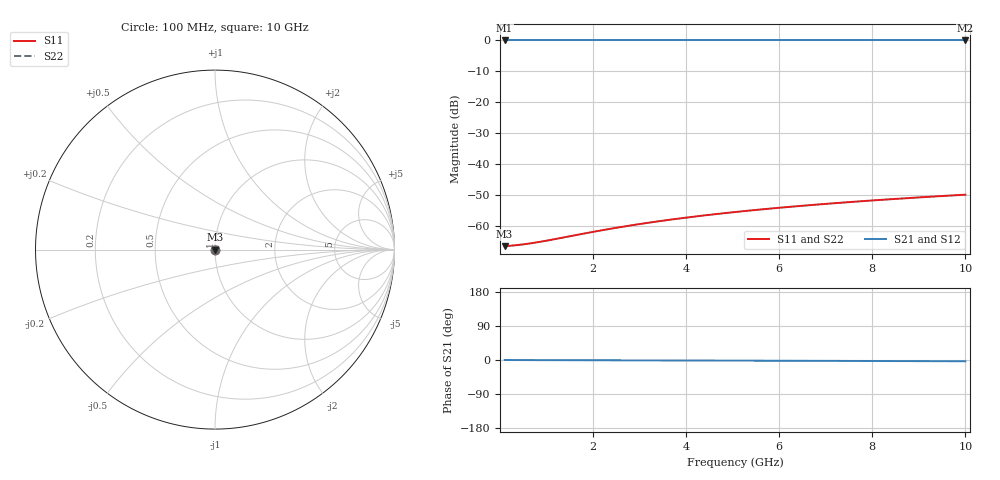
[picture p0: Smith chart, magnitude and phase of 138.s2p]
# Hz S RI R 50.00
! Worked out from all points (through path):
!   100 points, 100 MHz to 10 GHz, reference 50 ohm
!   highest |S21| = 0.00 dB at 100 MHz (marker M1); lowest = 0.0 dB at 10 GHz (marker M2)
!   lowest |S11| = -66.4 dB at 100 MHz (marker M3), VSWR 1.00, Z = 50 + j0.0032 ohm
!   |S11| at or under -10 dB: start of sweep to end of sweep
!   |S22| runs from -66.4 to -49.8 dB; largest |S21 - S12| = 0
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1e8  0.000477 3.19e-05  0.9995 -0.000573  0.9995 -0.000573  0.000477 3.19e-05
3e8  0.000482 9.58e-05  0.9995 -0.00172  0.9995 -0.00172  0.000482 9.58e-05
4e8  0.000484 0.000128  0.9995 -0.00229  0.9995 -0.00229  0.000484 0.000128
5e8  0.000485 0.00016  0.9995 -0.00286  0.9995 -0.00286  0.000485 0.00016
7e8  0.000488 0.000224  0.9995 -0.00401  0.9995 -0.00401  0.000488 0.000224
9e8  0.00049 0.000287  0.9995 -0.00515  0.9995 -0.00515  0.00049 0.000287
1.1e9  0.000493 0.000351  0.9995 -0.0063  0.9995 -0.0063  0.000493 0.000351
1.8e9  0.0005 0.000574  0.9994 -0.0103  0.9994 -0.0103  0.0005 0.000574
2.2e9  0.000505 0.000702  0.9994 -0.0126  0.9994 -0.0126  0.000505 0.000702
2.6e9  0.00051 0.000829  0.9994 -0.0149  0.9994 -0.0149  0.00051 0.000829
3e9  0.000516 0.000956  0.9993 -0.0172  0.9993 -0.0172  0.000516 0.000956
3.4e9  0.000522 0.00108  0.9993 -0.0195  0.9993 -0.0195  0.000522 0.00108
3.8e9  0.000528 0.00121  0.9992 -0.0218  0.9992 -0.0218  0.000528 0.00121
4.2e9  0.000535 0.00134  0.9992 -0.0241  0.9992 -0.0241  0.000535 0.00134
4.6e9  0.000543 0.00146  0.9991 -0.0264  0.9991 -0.0264  0.000543 0.00146
5.1e9  0.000553 0.00162  0.999 -0.0292  0.999 -0.0292  0.000553 0.00162
5.9e9  0.000572 0.00187  0.9989 -0.0338  0.9989 -0.0338  0.000572 0.00187
6.7e9  0.000592 0.00213  0.9987 -0.0384  0.9987 -0.0384  0.000592 0.00213
7.5e9  0.000615 0.00238  0.9985 -0.043  0.9985 -0.043  0.000615 0.00238
8.4e9  0.000643 0.00266  0.9983 -0.0482  0.9983 -0.0482  0.000643 0.00266
9.2e9  0.000671 0.00291  0.998 -0.0528  0.998 -0.0528  0.000671 0.00291
1e10  0.000701 0.00316  0.9978 -0.0574  0.9978 -0.0574  0.000701 0.00316
